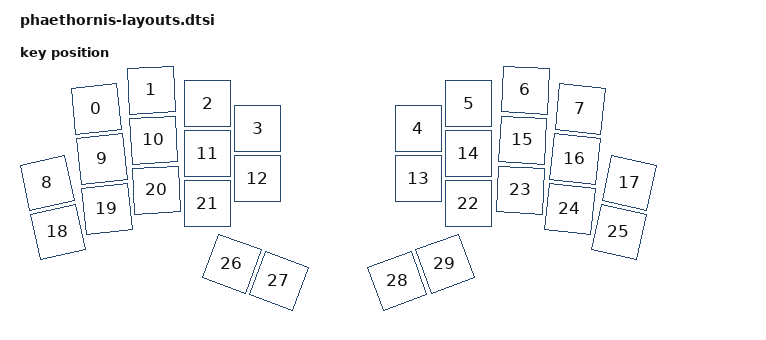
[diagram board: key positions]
#include <physical_layouts.dtsi>

/ {
    physical_layout_phaethornis: physical_layout_phaethornis {
        compatible = "zmk,physical-layout";
        display-name = "phaethornis";
        keys  //                     w   h    x    y     rot    rx    ry
            = <&key_physical_attrs 100 100  107   41  (-600)   157    91>
            , <&key_physical_attrs 100 100  217    3  (-300)   267    53>
            , <&key_physical_attrs 100 100  330   30       0     0     0>
            , <&key_physical_attrs 100 100  430   80       0     0     0>
            , <&key_physical_attrs 100 100  751   80       0     0     0>
            , <&key_physical_attrs 100 100  852   30       0     0     0>
            , <&key_physical_attrs 100 100  965    3     300  1015    53>
            , <&key_physical_attrs 100 100 1075   41     600  1125    91>
            , <&key_physical_attrs 100 100    9  189 (-1200)    59   239>
            , <&key_physical_attrs 100 100  118  141  (-600)   168   191>
            , <&key_physical_attrs 100 100  222  103  (-300)   272   153>
            , <&key_physical_attrs 100 100  330  130       0     0     0>
            , <&key_physical_attrs 100 100  430  180       0     0     0>
            , <&key_physical_attrs 100 100  751  180       0     0     0>
            , <&key_physical_attrs 100 100  852  130       0     0     0>
            , <&key_physical_attrs 100 100  960  103     300  1010   153>
            , <&key_physical_attrs 100 100 1064  141     600  1114   191>
            , <&key_physical_attrs 100 100 1173  189    1200  1223   239>
            , <&key_physical_attrs 100 100   30  287 (-1200)    80   337>
            , <&key_physical_attrs 100 100  128  241  (-600)   178   291>
            , <&key_physical_attrs 100 100  227  203  (-300)   277   253>
            , <&key_physical_attrs 100 100  330  230       0     0     0>
            , <&key_physical_attrs 100 100  852  230       0     0     0>
            , <&key_physical_attrs 100 100  955  203     300  1005   253>
            , <&key_physical_attrs 100 100 1054  241     600  1104   291>
            , <&key_physical_attrs 100 100 1152  287    1200  1202   337>
            , <&key_physical_attrs 100 100  378  350    2000   428   400>
            , <&key_physical_attrs 100 100  472  385    2000   523   435>
            , <&key_physical_attrs 100 100  709  385 (-2000)   759   435>
            , <&key_physical_attrs 100 100  804  350 (-2000)   854   400>
            ;
    };
};
